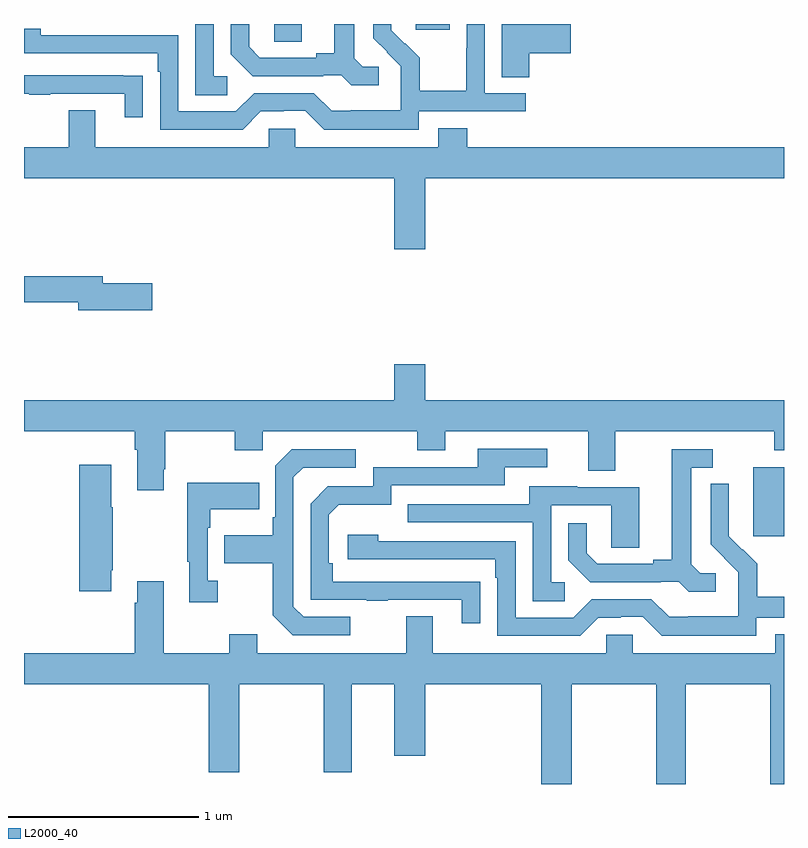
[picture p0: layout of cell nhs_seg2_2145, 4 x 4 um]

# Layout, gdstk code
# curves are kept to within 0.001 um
import gdstk
lib = gdstk.Library(unit=1e-6, precision=1e-09)
def R(c, l, rs):  # rectangles x0, y0, x1, y1
    for r in rs: c.add(gdstk.rectangle(r[:2], r[2:], *l))
def P(c, l, *ps):  # polygons
    for p in ps: c.add(gdstk.Polygon(p, *l))
L2000_40 = (2000, 40)

nhs_seg2_2145 = lib.new_cell('nhs_seg2_2145')
R(nhs_seg2_2145, L2000_40, [(226.838,627.105,227,627.466), (224.316,629.707,224.461,629.8), (225.062,629.769,225.241,629.8)])
P(nhs_seg2_2145, L2000_40, [(225.659,629.645),(225.877,629.645),(225.877,629.8),(225.515,629.8),(225.515,629.521),(225.659,629.521)],
  [(224.866,629.574),(224.784,629.574),(224.737,629.621),(224.737,629.8),(224.633,629.8),(224.633,629.645),(224.537,629.645),(224.537,629.622),(224.242,629.622),(224.185,629.679),(224.185,629.8),(224.088,629.8),(224.088,629.642),(224.204,629.526),(224.576,629.526),(224.576,629.529),(224.67,629.529),(224.722,629.477),(224.866,629.477)],
  [(225.078,629.34),(225.64,629.34),(225.64,629.436),(225.426,629.436),(225.426,629.8),(225.33,629.8),(225.33,629.672),(225.328,629.672),(225.328,629.449),(225.083,629.449),(225.083,629.623),(225.006,629.7),(225.003,629.697),(224.933,629.768),(224.933,629.8),(224.838,629.8),(224.838,629.726),(224.984,629.578),(224.984,629.481),(224.982,629.481),(224.982,629.347),(224.719,629.347),(224.719,629.343),(224.619,629.343),(224.526,629.436),(224.211,629.436),(224.115,629.34),(223.812,629.34),(223.812,629.742),(223.088,629.742),(223.088,629.776),(223,629.776),(223,629.646),(223.703,629.646),(223.703,629.549),(223.716,629.549),(223.716,629.244),(224.151,629.244),(224.247,629.34),(224.366,629.34),(224.366,629.343),(224.481,629.343),(224.581,629.243),(225.078,629.243)],
  [(224.071,629.526),(223.998,629.526),(223.998,629.8),(223.902,629.8),(223.902,629.425),(224.071,629.425)],
  [(223.625,629.528),(223.523,629.528),(223.523,629.529),(223,629.529),(223,629.433),(223.027,629.433),(223.027,629.428),(223.139,629.428),(223.139,629.433),(223.529,629.433),(223.529,629.31),(223.625,629.31)],
  [(225.112,628.988),(227,628.988),(227,629.152),(225.332,629.152),(225.332,629.251),(225.179,629.251),(225.179,629.152),(224.427,629.152),(224.427,629.25),(224.289,629.25),(224.289,629.152),(223.375,629.152),(223.375,629.347),(223.235,629.347),(223.235,629.152),(223,629.152),(223,628.988),(224.948,628.988),(224.948,628.614),(225.112,628.614)],
  [(223.675,628.436),(223.414,628.436),(223.414,628.472),(223,628.472),(223,628.336),(223.286,628.336),(223.286,628.294),(223.675,628.294)],
  [(223.735,627.457),(223.743,627.457),(223.743,627.656),(224.11,627.656),(224.11,627.557),(224.256,627.557),(224.256,627.656),(225.07,627.656),(225.07,627.557),(225.217,627.557),(225.217,627.656),(225.971,627.656),(225.971,627.448),(226.111,627.448),(226.111,627.656),(226.948,627.656),(226.948,627.557),(227,627.557),(227,627.82),(225.112,627.82),(225.112,628.009),(224.948,628.009),(224.948,627.82),(223,627.82),(223,627.656),(223.583,627.656),(223.583,627.56),(223.595,627.56),(223.595,627.345),(223.735,627.345)],
  [(225.401,626.864),(224.624,626.865),(224.624,626.962),(224.604,626.962),(224.604,627.216),(224.657,627.269),(224.934,627.269),(224.934,627.372),(225.529,627.372),(225.529,627.468),(225.754,627.468),(225.754,627.564),(225.389,627.564),(225.389,627.468),(224.838,627.468),(224.838,627.366),(224.598,627.366),(224.508,627.276),(224.508,626.769),(224.803,626.769),(224.803,626.764),(224.915,626.764),(224.915,626.769),(225.305,626.769),(225.305,626.646),(225.401,626.646)],
  [(224.716,626.679),(224.472,626.679),(224.418,626.733),(224.418,627.414),(224.469,627.465),(224.746,627.465),(224.746,627.561),(224.409,627.561),(224.322,627.474),(224.322,627.205),(224.31,627.205),(224.31,627.109),(224.053,627.109),(224.053,626.962),(224.31,626.962),(224.31,626.689),(224.415,626.583),(224.716,626.583)],
  [(226.642,626.91),(226.56,626.91),(226.513,626.957),(226.513,627.465),(226.624,627.465),(226.624,627.561),(226.409,627.561),(226.409,626.981),(226.313,626.981),(226.313,626.958),(226.018,626.958),(225.961,627.015),(225.961,627.172),(225.864,627.172),(225.864,626.978),(225.98,626.862),(226.352,626.862),(226.352,626.865),(226.446,626.865),(226.498,626.813),(226.642,626.813)],
  [(223.459,626.926),(223.467,626.926),(223.467,627.257),(223.459,627.257),(223.459,627.481),(223.292,627.481),(223.292,626.814),(223.459,626.814)],
  [(224.02,626.87),(223.968,626.87),(223.968,627.149),(223.981,627.149),(223.981,627.245),(224.237,627.245),(224.237,627.385),(223.86,627.385),(223.86,626.969),(223.871,626.969),(223.871,626.757),(224.02,626.757)],
  [(226.854,626.676),(227,626.676),(227,626.785),(226.859,626.785),(226.859,626.959),(226.782,627.036),(226.779,627.033),(226.709,627.104),(226.71,627.38),(226.614,627.38),(226.614,627.062),(226.76,626.914),(226.76,626.817),(226.758,626.817),(226.758,626.683),(226.495,626.683),(226.495,626.679),(226.395,626.679),(226.302,626.772),(225.987,626.772),(225.891,626.676),(225.588,626.676),(225.588,627.078),(224.864,627.078),(224.864,627.112),(224.703,627.112),(224.703,626.982),(225.479,626.982),(225.479,626.885),(225.492,626.885),(225.492,626.58),(225.927,626.58),(226.023,626.676),(226.142,626.676),(226.142,626.679),(226.257,626.679),(226.357,626.579),(226.854,626.579)],
  [(225.847,626.862),(225.774,626.862),(225.774,627.267),(226.092,627.267),(226.092,627.043),(226.237,627.043),(226.237,627.363),(225.913,627.363),(225.913,627.367),(225.659,627.367),(225.659,627.273),(225.019,627.273),(225.019,627.177),(225.678,627.177),(225.678,626.761),(225.847,626.761)],
  [(225.882,626.324),(226.327,626.324),(226.327,625.8),(226.482,625.8),(226.482,626.324),(226.927,626.324),(226.927,625.8),(227,625.8),(227,626.587),(226.955,626.587),(226.955,626.488),(226.203,626.488),(226.203,626.586),(226.065,626.586),(226.065,626.488),(225.151,626.488),(225.151,626.683),(225.011,626.683),(225.011,626.488),(224.227,626.488),(224.227,626.587),(224.08,626.587),(224.08,626.488),(223.735,626.488),(223.735,626.866),(223.595,626.866),(223.595,626.753),(223.583,626.753),(223.583,626.488),(223,626.488),(223,626.324),(223.973,626.324),(223.973,625.863),(224.133,625.863),(224.133,626.324),(224.578,626.324),(224.578,625.863),(224.725,625.863),(224.725,626.324),(224.948,626.324),(224.948,625.95),(225.112,625.95),(225.112,626.324),(225.722,626.324),(225.722,625.8),(225.882,625.8)])

lib.write_gds('nhs_seg2_2145.gds')
